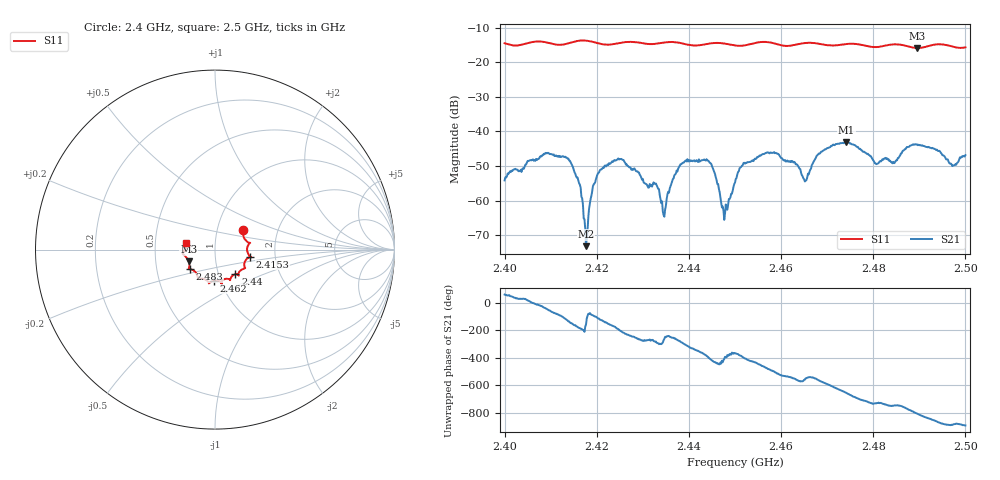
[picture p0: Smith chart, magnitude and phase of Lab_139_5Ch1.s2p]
# Hz S RI R 50
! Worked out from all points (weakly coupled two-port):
!   601 points, 2.4 GHz to 2.5 GHz, reference 50 ohm
!   highest |S21| = -43.18 dB at 2.4742 GHz (marker M1); lowest = -73.2 dB at 2.4177 GHz (marker M2)
!   lowest |S11| = -15.9 dB at 2.4895 GHz (marker M3), VSWR 1.38, Z = 37 - j5 ohm
!   |S11| at or under -10 dB: start of sweep to end of sweep
!   S12 and S22 are empty: the file has one direction only
!   S11 on the Smith chart (normalised r, x): 2.4 GHz: 1.33, +0.29; 2.4153 GHz: 1.48, -0.12; 2.44 GHz: 1.20, -0.34; 2.462 GHz: 0.93, -0.33; 2.483 GHz: 0.74, -0.17; 2.5 GHz: 0.72, +0.06
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2.4e9  0.1553 0.1065  0.000954 0.0017  0 0  0 0
2.409e9  0.1913 0.0339  0.00364 -0.00325  0 0  0 0
2.415333e9  0.1961 -0.0386  -0.00232 -0.000772  0 0  0 0
2.416667e9  0.2019 -0.0426  -0.00112 0.000164  0 0  0 0
2.417667e9  0.2008 -0.0423  -0.000201 -8.73e-05  0 0  0 0
2.419833e9  0.1861 -0.0448  -0.000384 -0.00202  0 0  0 0
2.423667e9  0.1629 -0.0836  -0.00369 -0.000679  0 0  0 0
2.433333e9  0.1312 -0.1335  0.000593 0.00135  0 0  0 0
2.434667e9  0.1304 -0.1422  -9.22e-05 0.000576  0 0  0 0
2.44e9  0.114 -0.1369  0.0029 0.0025  0 0  0 0
2.4445e9  0.0849 -0.1663  0.00249 -0.0025  0 0  0 0
2.447667e9  0.0823 -0.1672  0.000354 -0.000389  0 0  0 0
2.45e9  0.0646 -0.1626  0.0018 -0.000207  0 0  0 0
2.4565e9  0.0389 -0.193  -0.00146 -0.00457  0 0  0 0
2.462e9  -0.00525 -0.1731  -0.00371 -2.18e-05  0 0  0 0
2.465167e9  -0.0323 -0.1866  -0.00179 0.000588  0 0  0 0
2.466667e9  -0.0341 -0.1876  -0.00324 0.000164  0 0  0 0
2.474167e9  -0.0883 -0.1608  0.00292 0.00629  0 0  0 0
2.483e9  -0.1376 -0.1095  0.00374 -0.00164  0 0  0 0
2.483333e9  -0.1403 -0.1093  0.00352 -0.00178  0 0  0 0
2.4895e9  -0.1463 -0.0659  0.000466 -0.00648  0 0  0 0
2.5e9  -0.1595 0.0391  -0.00448 -0.000668  0 0  0 0
